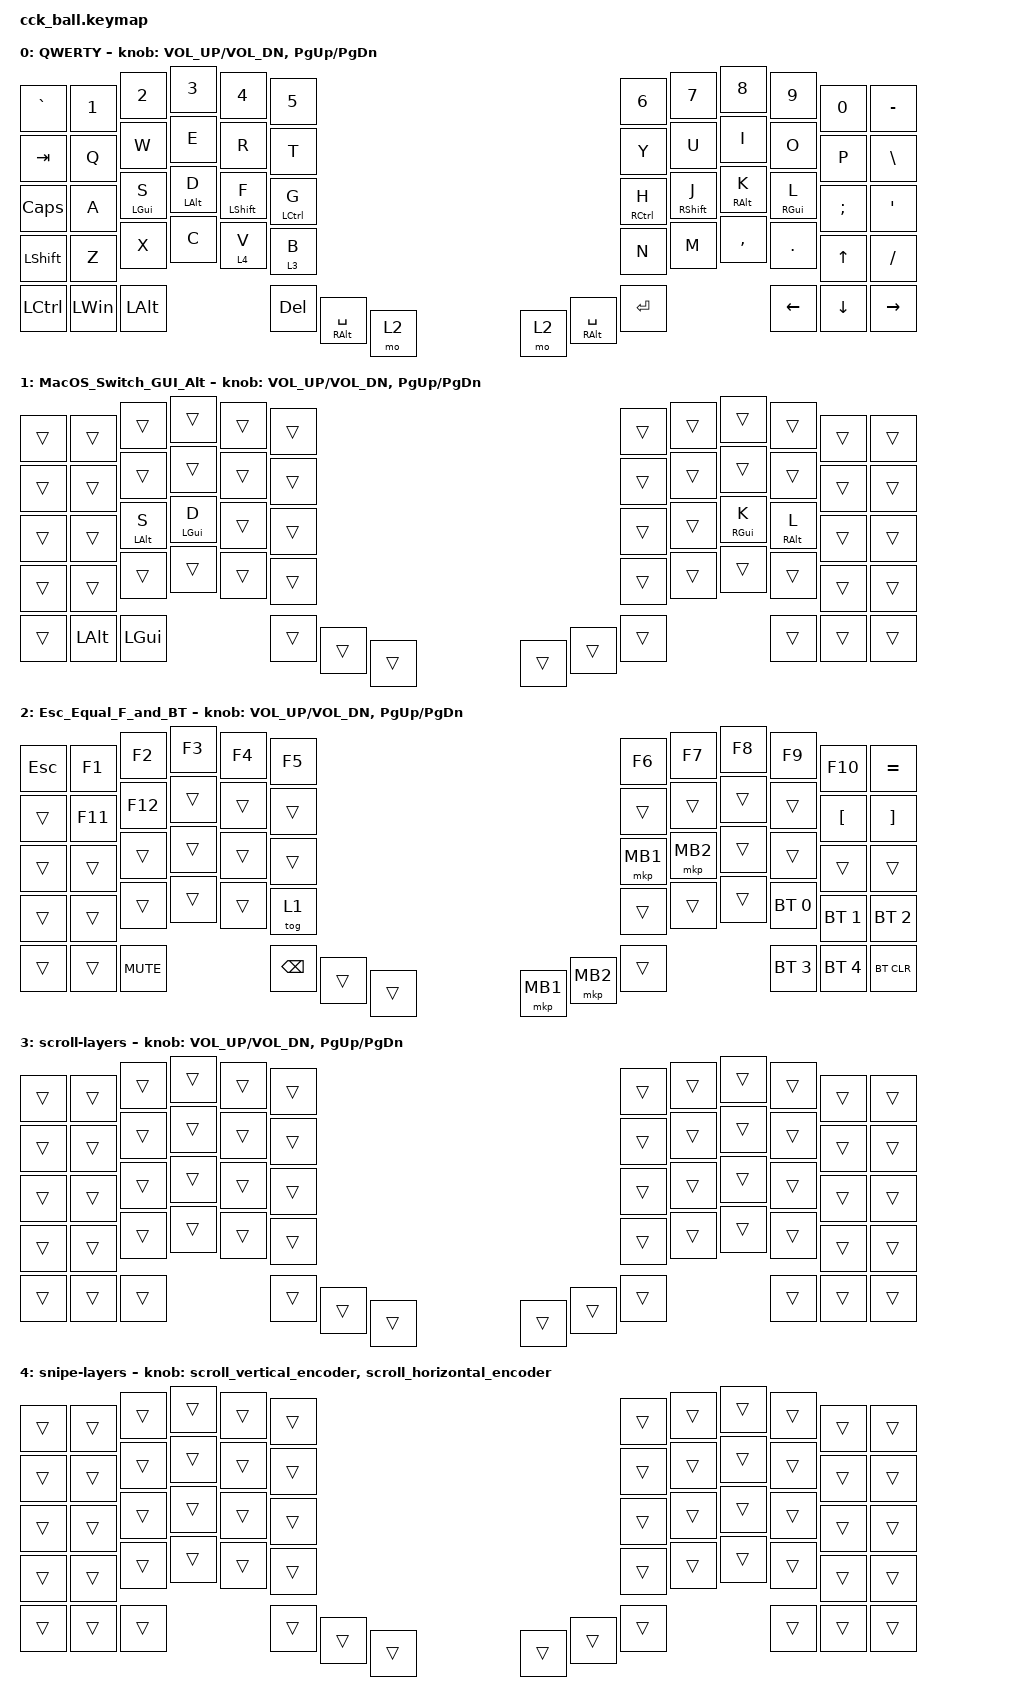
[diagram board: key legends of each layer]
#define ZMK_POINTING_DEFAULT_MOVE_VAL 1000 // 600
#define ZMK_POINTING_DEFAULT_SCRL_VAL 12   // 10

#include <input/processors.dtsi>
#include <zephyr/dt-bindings/input/input-event-codes.h>
#include <behaviors.dtsi>
#include <dt-bindings/zmk/bt.h>
#include <dt-bindings/zmk/keys.h>
#include <dt-bindings/zmk/pointing.h>

&mmv_input_listener { input-processors = <&zip_xy_scaler 2 1>; };

&msc_input_listener { input-processors = <&zip_scroll_scaler 2 1>; };

&msc {
    acceleration-exponent = <0>;      // 0
    time-to-max-speed-ms = <300>;       // 300
    delay-ms = <0>;                   // 0
};

&mmv {
    time-to-max-speed-ms = <500>;
    acceleration-exponent = <1>;
    trigger-period-ms = <16>;
};

&soft_off { hold-time-ms = <2000>; };

/ {
    // Vertical scroll encoder behavior

    scroll_vertical_encoder: scroll_vertical_encoder {
        compatible = "zmk,behavior-sensor-rotate";
        #sensor-binding-cells = <0>;
        bindings = <&msc SCRL_DOWN>, <&msc SCRL_UP>;

        tap-ms = <100>;
    };

    // Horizontal scroll encoder behavior

    scroll_horizontal_encoder: scroll_horizontal_encoder {
        compatible = "zmk,behavior-sensor-rotate";
        #sensor-binding-cells = <0>;
        bindings = <&msc SCRL_LEFT>, <&msc SCRL_RIGHT>;

        tap-ms = <100>;
    };

    behaviors {
        hml: home_row_mod_left {
            compatible = "zmk,behavior-hold-tap";
            #binding-cells = <2>;
            flavor = "balanced";
            require-prior-idle-ms = <150>;
            tapping-term-ms = <280>;
            quick-tap-ms = <175>;
            bindings = <&kp>, <&kp>;

            hold-trigger-key-positions = <
             6  7  8  9 10 11
            18 19 20 21 22 23
            30 31 32 33 34 35
            42 43 44 45 46 47
            54 55 56 57 58 59
            >;

            // List of keys on the right side of the keyboard

            hold-trigger-on-release;
        };

        hmr: home_row_mod_right {
            compatible = "zmk,behavior-hold-tap";
            #binding-cells = <2>;
            flavor = "balanced";
            require-prior-idle-ms = <150>;
            tapping-term-ms = <280>;
            quick-tap-ms = <175>;
            bindings = <&kp>, <&kp>;

            hold-trigger-key-positions = <
             0  1  2  3  4  5
            12 13 14 15 16 17
            24 25 26 27 28 29
            36 37 38 39 40 41
            48 49 50 51 52 53
            >;

            // List of keys on the left side of the keyboard

            hold-trigger-on-release;
        };
    };

    keymap {
        compatible = "zmk,keymap";

        QWERTY {
            bindings = <
&kp GRAVE         &kp N1        &kp N2        &kp N3       &kp N4          &kp N5        &kp N6        &kp N7          &kp N8       &kp N9          &kp N0          &kp MINUS
&kp TAB           &kp Q         &kp W         &kp E        &kp R           &kp T         &kp Y         &kp U           &kp I        &kp O           &kp P           &kp BSLH
&kp CAPSLOCK      &kp A         &hml LGUI S   &hml LALT D  &hml LSHFT F    &hml LCTRL G  &hmr RCTRL H  &hmr RSHFT J    &hmr RALT K  &hmr RGUI L     &kp SEMI        &kp SQT
&kp LEFT_SHIFT    &kp Z         &kp X         &kp C        &lt 4 V         &lt 3 B       &kp N         &kp M           &kp COMMA    &kp DOT         &kp UP_ARROW    &kp FSLH
&kp LEFT_CONTROL  &kp LEFT_WIN  &kp LEFT_ALT  &kp DELETE   &mt RALT SPACE  &mo 2         &mo 2         &mt RALT SPACE  &kp ENTER    &kp LEFT_ARROW  &kp DOWN_ARROW  &kp RIGHT_ARROW
            >;

            sensor-bindings = <&inc_dec_kp C_VOL_UP C_VOL_DN &inc_dec_kp PG_UP PG_DN>;
        };

        MacOS_Switch_GUI_Alt {
            bindings = <
&trans  &trans    &trans       &trans       &trans  &trans  &trans  &trans  &trans       &trans       &trans  &trans
&trans  &trans    &trans       &trans       &trans  &trans  &trans  &trans  &trans       &trans       &trans  &trans
&trans  &trans    &hml LALT S  &hml LGUI D  &trans  &trans  &trans  &trans  &hmr RGUI K  &hmr RALT L  &trans  &trans
&trans  &trans    &trans       &trans       &trans  &trans  &trans  &trans  &trans       &trans       &trans  &trans
&trans  &kp LALT  &kp LGUI     &trans       &trans  &trans  &trans  &trans  &trans       &trans       &trans  &trans
            >;

            sensor-bindings = <&inc_dec_kp C_VOL_UP C_VOL_DN &inc_dec_kp PG_UP PG_DN>;
        };

        Esc_Equal_F_and_BT {
            bindings = <
&kp ESCAPE  &kp F1   &kp F2      &kp F3         &kp F4  &kp F5  &kp F6    &kp F7    &kp F8  &kp F9        &kp F10           &kp EQUAL
&trans      &kp F11  &kp F12     &trans         &trans  &trans  &trans    &trans    &trans  &trans        &kp LEFT_BRACKET  &kp RIGHT_BRACKET
&trans      &trans   &trans      &trans         &trans  &trans  &mkp MB1  &mkp MB2  &trans  &trans        &trans            &trans
&trans      &trans   &trans      &trans         &trans  &tog 1  &trans    &trans    &trans  &bt BT_SEL 0  &bt BT_SEL 1      &bt BT_SEL 2
&trans      &trans   &kp K_MUTE  &kp BACKSPACE  &trans  &trans  &mkp MB1  &mkp MB2  &trans  &bt BT_SEL 3  &bt BT_SEL 4      &bt BT_CLR
            >;

            sensor-bindings = <&inc_dec_kp C_VOL_UP C_VOL_DN &inc_dec_kp PG_UP PG_DN>;
        };

        scroll-layers {
            bindings = <
&trans  &trans  &trans  &trans  &trans  &trans  &trans  &trans  &trans  &trans  &trans  &trans
&trans  &trans  &trans  &trans  &trans  &trans  &trans  &trans  &trans  &trans  &trans  &trans
&trans  &trans  &trans  &trans  &trans  &trans  &trans  &trans  &trans  &trans  &trans  &trans
&trans  &trans  &trans  &trans  &trans  &trans  &trans  &trans  &trans  &trans  &trans  &trans
&trans  &trans  &trans  &trans  &trans  &trans  &trans  &trans  &trans  &trans  &trans  &trans
            >;

            sensor-bindings = <&inc_dec_kp C_VOL_UP C_VOL_DN &inc_dec_kp PG_UP PG_DN>;
        };

        snipe-layers {
            bindings = <
&trans  &trans  &trans  &trans  &trans  &trans  &trans  &trans  &trans  &trans  &trans  &trans
&trans  &trans  &trans  &trans  &trans  &trans  &trans  &trans  &trans  &trans  &trans  &trans
&trans  &trans  &trans  &trans  &trans  &trans  &trans  &trans  &trans  &trans  &trans  &trans
&trans  &trans  &trans  &trans  &trans  &trans  &trans  &trans  &trans  &trans  &trans  &trans
&trans  &trans  &trans  &trans  &trans  &trans  &trans  &trans  &trans  &trans  &trans  &trans
            >;

            sensor-bindings =
                <&scroll_vertical_encoder>,
                // 编码器1：上下滚动,,
                <&scroll_horizontal_encoder>;

            // 编码器2：左右滚动
        };
    };
};
